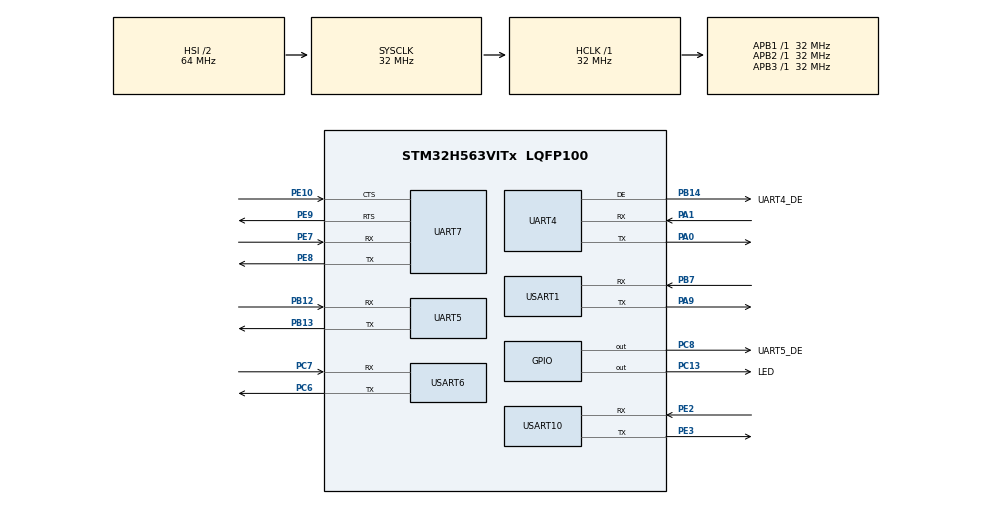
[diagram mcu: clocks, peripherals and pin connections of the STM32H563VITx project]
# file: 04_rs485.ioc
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BOOTPATH.BootPathName=LEGACY
BOOTPATH.UserSelectedBootPath=LEGACY
CORTEX_M33_NS.userName=CORTEX_M33
GPDMA1.CIRCULARMODE_GPDMACH1=ENABLE
GPDMA1.CIRCULARMODE_GPDMACH2=ENABLE
GPDMA1.RECAP_GPDMACH1=GPDMA1_REQUEST_USART1_RX
Mcu.Family=STM32H5
Mcu.Name=STM32H563VITx
Mcu.Package=LQFP100
NVIC.PriorityGroup=NVIC_PRIORITYGROUP_4
NVIC.USART1_IRQn=true\:0\:0\:false\:false\:true\:true\:true\:true
PA0.Mode=Asynchronous
PA0.Signal=UART4_TX
PA1.Mode=Asynchronous
PA1.Signal=UART4_RX
PA9.Mode=Asynchronous
PA9.Signal=USART1_TX
PB12.Mode=Asynchronous
PB12.Signal=UART5_RX
PB13.Mode=Asynchronous
PB13.Signal=UART5_TX
PB14.GPIO_Label=UART4_DE
PB14.Mode=Hardware Flow Control (RS485)
PB14.Signal=UART4_DE
PB7.Mode=Asynchronous
PB7.Signal=USART1_RX
PC13.GPIO_Label=LED
PC13.Signal=GPIO_Output
PC6.Mode=Asynchronous
PC6.Signal=USART6_TX
PC7.Mode=Asynchronous
PC7.Signal=USART6_RX
PC8.GPIO_Label=UART5_DE
PC8.Signal=GPIO_Output
PE10.Mode=CTS_RTS
PE10.Signal=UART7_CTS
PE2.Mode=Asynchronous
PE2.Signal=USART10_RX
PE3.Mode=Asynchronous
PE3.Signal=USART10_TX
PE7.Mode=Asynchronous
PE7.Signal=UART7_RX
PE8.Mode=Asynchronous
PE8.Signal=UART7_TX
PE9.Mode=CTS_RTS
PE9.Signal=UART7_RTS
ProjectManager.HeapSize=0x200
ProjectManager.StackSize=0x400
ProjectManager.TargetToolchain=STM32CubeIDE
RCC.ADCFreq_Value=32000000
RCC.AHBFreq_Value=32000000
RCC.APB1Freq_Value=32000000
RCC.APB1TimFreq_Value=32000000
RCC.APB2Freq_Value=32000000
RCC.APB2TimFreq_Value=32000000
RCC.APB3Freq_Value=32000000
RCC.CSI_VALUE=4000000
RCC.CortexFreq_Value=32000000
RCC.EPOD_VALUE=4000000
RCC.HCLKFreq_Value=32000000
RCC.HSE_VALUE=25000000
RCC.HSI48_VALUE=48000000
RCC.HSI_VALUE=64000000
RCC.LSE_VALUE=32768
RCC.LSIRC_VALUE=32000
RCC.SYSCLKFreq_VALUE=32000000
RCC.USBFreq_Value=48000000
RCC.VCOOutputFreq_Value=516000000
USART1.VirtualMode-Asynchronous=VM_ASYNC
USART10.VirtualMode=VM_ASYNC
USART6.VirtualMode=VM_ASYNC
VP_BOOTPATH_VS_BOOTPATH.Mode=BP_Activate
VP_CORTEX_M33_NS_VS_Hclk.Mode=Hclk_Mode
VP_GPDMA1_VS_GPDMACH1.Mode=SIMPLEREQUEST_GPDMACH1
VP_GPDMA1_VS_GPDMACH2.Mode=SIMPLEREQUEST_GPDMACH2
VP_ICACHE_VS_ENABLE_ICACHE_MEMORY.Mode=Memoryregions
VP_ICACHE_VS_ICACHE.Mode=DirectMappedCache
VP_MEMORYMAP_VS_MEMORYMAP.Mode=CurAppReg
VP_PWR_VS_LPOM.Mode=PowerOptimisation
VP_PWR_VS_SECSignals.Mode=Security/Privilege
board=custom

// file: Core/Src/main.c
/* USER CODE BEGIN Header */
/**
 ******************************************************************************
 * @file           : main.c
 * @brief          : Main program body
 ******************************************************************************
 * @attention
 *
 * Copyright (c) 2026 STMicroelectronics.
 * All rights reserved.
 *
 * This software is licensed under terms that can be found in the LICENSE file
 * in the root directory of this software component.
 * If no LICENSE file comes with this software, it is provided AS-IS.
 *
 ******************************************************************************
 */

/**
 * @brief 해당 예제는 stm32h5-kit의 3개 채널 uart를 동시에 다루는 예제입니다.
 *        이전 예제 UART의 확장버전으로 구현하려고 합니다.
 *
 *        이번 예제는 RS485이며, UART, RS232와 크게 다르진 않습니다만
 *        통신 방향 제어, 버스 공유라는 개념의 독특한 차이점이 있습니다.
 *
 *        이전 예제처럼, 명령어를 입력하여 상대방이 RS485메시지를 잘 받는지 확인해 보도록 합시다.
 *
 * @details
 *  - RS485는 Half-Duplex 방식입니다. (A핀과 B핀은 차동전압으로 송신)
 *    기존 UART 통신의 경우, TX/RX 두핀이 있었는데, RS485는 선이 하나만 있다고 생각하면서 구현하면, 수월할때가 많은 것 같습니다.
 *    송신(TX) 시와 수신(RX) 시
 *    데이터 방향을 GPIO로 직접 제어해야 합니다. (DE 핀)
 *    (쉽게 비유하자면, 지금은 받기만 한다. 지금은 보내기만 한다. 고정적으로 명시해두고 쓴다는 것입니다.)
 *
 *  - 여러 노드가 하나의 버스를 공유하므로,
 *    동시에 송신하면 충돌이 발생할 수 있습니다.
 *    따라서 송신 타이밍 제어와 응답 대기 구조가 중요합니다.
 *
 *  - 본 예제에서는 송신 전 DE 핀을 활성화하고,
 *    전송 완료 후 다시 수신 모드로 복귀하는 기본 흐름을 구현합니다.
 *
 *  - 수신은 인터럽트 기반으로 처리하여,
 *    메인 루프에서는 수신 완료 여부만 확인하고
 *    실제 명령 파싱과 동작은 메인 루프에서 수행합니다.
 *
 * @note
 *  - RS485 송신시 DE핀을 잠시 HIGH로 올려주고,
 *    송신이 확실히 끝났다면 LOW로 내려주어, 안정성을 확보해줍시다.
 *
 *  - RS485는 물리적으로는 UART이지만,
 *    버스 제어 로직이 추가되므로 소프트웨어 구조가 더 중요합니다.
 */
/* USER CODE END Header */
#include "main.h"
#include "gpdma.h"
#include "icache.h"
#include "usart.h"
#include "gpio.h"

/* USER CODE BEGIN Includes */
#include <stdbool.h>
#include <string.h>
/* USER CODE END Includes */

/* USER CODE BEGIN PD */
#define RX_BUF_SIZE 64
/* USER CODE END PD */

/* USER CODE BEGIN PV */
static uint8_t          debug_uart_rx_char;
static char             debug_uart_rx_line[RX_BUF_SIZE];
static volatile uint8_t debug_uart_rx_idx   = 0;
static volatile bool    debug_uart_rx_ready = false;

extern UART_HandleTypeDef huart1;
extern UART_HandleTypeDef huart4; // RS485 핸들러 추가
extern UART_HandleTypeDef huart5; // RS485 핸들러 추가
extern UART_HandleTypeDef huart6;
extern UART_HandleTypeDef huart7;
extern UART_HandleTypeDef huart10;
/* USER CODE END PV */

void SystemClock_Config(void);

/* USER CODE BEGIN 0 */

void HAL_UART_RxCpltCallback(UART_HandleTypeDef *huart)
{
  if (debug_uart_rx_ready)
  {
    HAL_UART_Receive_IT(&huart1, &debug_uart_rx_char, 1);
    return;
  }

  if (huart == &huart1)
  {
    HAL_UART_Transmit(&huart1, &debug_uart_rx_char, sizeof(debug_uart_rx_char), 1);

    if (debug_uart_rx_char == '\n' || debug_uart_rx_char == '\r')
    {
      debug_uart_rx_line[debug_uart_rx_idx] = 0;
      debug_uart_rx_idx                     = 0;
      debug_uart_rx_ready                   = true;
    }
    else
    {
      if (debug_uart_rx_idx < RX_BUF_SIZE - 1)
      {
        debug_uart_rx_line[debug_uart_rx_idx++] = debug_uart_rx_char;
      }
    }
    HAL_UART_Receive_IT(&huart1, &debug_uart_rx_char, 1);
  }
}

/* USER CODE END 0 */

int main(void)
{

  /* MCU Configuration--------------------------------------------------------*/

  /* Reset of all peripherals, Initializes the Flash interface and the Systick. */
  HAL_Init();

  /* Configure the system clock */
  SystemClock_Config();

  /* Initialize all configured peripherals */
  MX_GPIO_Init();
  MX_GPDMA1_Init();
  MX_USART1_UART_Init();
  MX_USART6_UART_Init();
  MX_USART10_UART_Init();
  MX_ICACHE_Init();
  MX_UART7_Init();
  MX_UART4_Init();
  MX_UART5_Init();
  /* USER CODE BEGIN 2 */
  HAL_GPIO_WritePin(LED_GPIO_Port, LED_Pin, GPIO_PIN_SET);
  HAL_UART_Receive_IT(&huart1, &debug_uart_rx_char, 1);

  HAL_GPIO_WritePin(UART4_DE_GPIO_Port, UART4_DE_Pin, GPIO_PIN_RESET); // rs485 수신모드
  HAL_GPIO_WritePin(UART5_DE_GPIO_Port, UART5_DE_Pin, GPIO_PIN_RESET); // rs485 수신모드
  /* USER CODE END 2 */

  /* Infinite loop */
  /* USER CODE BEGIN WHILE */

  while (1)
  {
    if (debug_uart_rx_ready)
    {
      debug_uart_rx_ready = false;

      if (strcmp(debug_uart_rx_line, "LED ON") == 0)
      {
        HAL_GPIO_WritePin(LED_GPIO_Port, LED_Pin, GPIO_PIN_RESET);
        char msg[] = "current : LED ON\n";
        HAL_UART_Transmit(&huart1, (uint8_t *)msg, sizeof(msg), 100);
      }
      else if (strcmp(debug_uart_rx_line, "LED OFF") == 0)
      {
        HAL_GPIO_WritePin(LED_GPIO_Port, LED_Pin, GPIO_PIN_SET);
        char msg[] = "current : LED OFF\n";
        HAL_UART_Transmit(&huart1, (uint8_t *)msg, sizeof(msg), 100);
      }
      else if (strcmp(debug_uart_rx_line, "UART6 SEND") == 0)
      {
        char msg[] = "[SENT]Hello Uart!\n";
        HAL_UART_Transmit(&huart6, (uint8_t *)msg, sizeof(msg), 100);
      }
      else if (strcmp(debug_uart_rx_line, "UART10 SEND") == 0)
      {
        char msg[] = "[SENT]Hello Uart!\n";
        HAL_UART_Transmit(&huart10, (uint8_t *)msg, sizeof(msg), 100);
      }
      else if (strcmp(debug_uart_rx_line, "RS232") == 0)
      {
        char msg[] = "[RS232]Hello Uart!\n";
        HAL_UART_Transmit(&huart7, (uint8_t *)msg, sizeof(msg), 100);
      }
      else if (strcmp(debug_uart_rx_line, "RS485 1") == 0)                // rs485 명령 추가!
      {
        HAL_GPIO_WritePin(UART5_DE_GPIO_Port, UART5_DE_Pin, GPIO_PIN_SET);// rs485 송신 모드

        char msg[] = "[RS485-1]Hello Uart!\n";
        HAL_UART_Transmit(&huart5, (uint8_t *)msg, sizeof(msg), 100);     // 보낸 후

        while (__HAL_UART_GET_FLAG(&huart5, UART_FLAG_TC) == RESET);      // 송신완료 플래그 (레지스터 플래그:TC)를 확인 , LOW이면 송신 끝

        HAL_GPIO_WritePin(UART5_DE_GPIO_Port, UART5_DE_Pin, GPIO_PIN_RESET);    // 수신모드
      }
      else if (strcmp(debug_uart_rx_line, "RS485 2") == 0)                // rs485 명령 추가!
      {
        HAL_GPIO_WritePin(UART4_DE_GPIO_Port, UART4_DE_Pin, GPIO_PIN_SET);// rs485 송신 모드

        char msg[] = "[RS485-2]Hello Uart!\n";
        HAL_UART_Transmit(&huart4, (uint8_t *)msg, sizeof(msg), 100);     // 보낸 후

        while (__HAL_UART_GET_FLAG(&huart4, UART_FLAG_TC) == RESET);      // 송신완료 플래그 (레지스터 플래그:TC)를 확인 , LOW이면 송신 끝

        HAL_GPIO_WritePin(UART4_DE_GPIO_Port, UART4_DE_Pin, GPIO_PIN_RESET);    // 수신모드
      }
      else
      {
        char msg[] = "[ERROR]unknown command\n";
        HAL_UART_Transmit(&huart1, (uint8_t *)msg, sizeof(msg), 100);
      }
    }

    /* USER CODE END WHILE */

  }
}

void SystemClock_Config(void)
{
  RCC_OscInitTypeDef RCC_OscInitStruct = {0};
  RCC_ClkInitTypeDef RCC_ClkInitStruct = {0};

  /** Configure the main internal regulator output voltage
  */
  __HAL_PWR_VOLTAGESCALING_CONFIG(PWR_REGULATOR_VOLTAGE_SCALE3);

  while(!__HAL_PWR_GET_FLAG(PWR_FLAG_VOSRDY)) {}

  /** Initializes the RCC Oscillators according to the specified parameters
  * in the RCC_OscInitTypeDef structure.
  */
  RCC_OscInitStruct.OscillatorType = RCC_OSCILLATORTYPE_HSI;
  RCC_OscInitStruct.HSIState = RCC_HSI_ON;
  RCC_OscInitStruct.HSIDiv = RCC_HSI_DIV2;
  RCC_OscInitStruct.HSICalibrationValue = RCC_HSICALIBRATION_DEFAULT;
  RCC_OscInitStruct.PLL.PLLState = RCC_PLL_NONE;
  if (HAL_RCC_OscConfig(&RCC_OscInitStruct) != HAL_OK)
  {
    Error_Handler();
  }

  /** Initializes the CPU, AHB and APB buses clocks
  */
  RCC_ClkInitStruct.ClockType = RCC_CLOCKTYPE_HCLK|RCC_CLOCKTYPE_SYSCLK
                              |RCC_CLOCKTYPE_PCLK1|RCC_CLOCKTYPE_PCLK2
                              |RCC_CLOCKTYPE_PCLK3;
  RCC_ClkInitStruct.SYSCLKSource = RCC_SYSCLKSOURCE_HSI;
  RCC_ClkInitStruct.AHBCLKDivider = RCC_SYSCLK_DIV1;
  RCC_ClkInitStruct.APB1CLKDivider = RCC_HCLK_DIV1;
  RCC_ClkInitStruct.APB2CLKDivider = RCC_HCLK_DIV1;
  RCC_ClkInitStruct.APB3CLKDivider = RCC_HCLK_DIV1;

  if (HAL_RCC_ClockConfig(&RCC_ClkInitStruct, FLASH_LATENCY_1) != HAL_OK)
  {
    Error_Handler();
  }

  /** Configure the programming delay
  */
  __HAL_FLASH_SET_PROGRAM_DELAY(FLASH_PROGRAMMING_DELAY_0);
}

void Error_Handler(void)
{
  __disable_irq();
  while (1)
  {
  }
}
